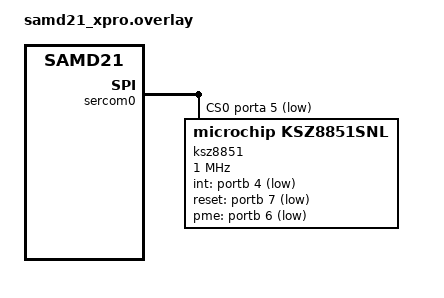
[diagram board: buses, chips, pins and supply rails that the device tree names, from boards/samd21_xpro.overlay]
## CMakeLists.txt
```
cmake_minimum_required(VERSION 3.20.0)

# Tell Zephyr where to find our devicetree bindings
list(APPEND DTS_ROOT ${CMAKE_CURRENT_SOURCE_DIR})

find_package(Zephyr REQUIRED HINTS $ENV{ZEPHYR_BASE})
project(ksz8851_app)

# Your application sources
target_sources(app PRIVATE
    src/main.c
)

# Add the driver sources directly to the app target
# This ensures they're properly linked
zephyr_library_sources_ifdef(CONFIG_ETH_KSZ8851SNL
    drivers/ethernet/eth_ksz8851snl.c
)
```

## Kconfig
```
# Copyright (c) 2021 Nordic Semiconductor ASA
# SPDX-License-Identifier: Apache-2.0
#
# This file is the application Kconfig entry point. All application Kconfig
# options can be defined here or included via other application Kconfig files.
# You can browse these options using the west targets menuconfig (terminal) or
# guiconfig (GUI).

menu "Zephyr"
source "Kconfig.zephyr"
endmenu

rsource "drivers/Kconfig"

module = APP
module-str = APP
source "subsys/logging/Kconfig.template.log_config"
```

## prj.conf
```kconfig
CONFIG_NEWLIB_LIBC=y
CONFIG_PICOLIBC=n

CONFIG_SERIAL=y
CONFIG_CONSOLE=y
CONFIG_UART_CONSOLE=y

CONFIG_LOG=y
CONFIG_LOG_BACKEND_UART=y
CONFIG_LOG_DEFAULT_LEVEL=3
CONFIG_LOG_BUFFER_SIZE=8192
CONFIG_LOG_PROCESS_THREAD_STACK_SIZE=2048
CONFIG_LOG_PROCESS_TRIGGER_THRESHOLD=0

# Reduce verbosity - keep only important logs
CONFIG_NET_LOG=y
CONFIG_NET_DHCPV4_LOG_LEVEL_INF=y
CONFIG_NET_IPV4_LOG_LEVEL_INF=y
CONFIG_NET_L2_ETHERNET_LOG_LEVEL_INF=y

CONFIG_GPIO=y
CONFIG_SPI=y

# Networking
CONFIG_NETWORKING=y
CONFIG_NET_IPV4=y
CONFIG_NET_IPV6=n
CONFIG_NET_TCP=n
CONFIG_NET_UDP=y

# Ethernet
CONFIG_NET_L2_ETHERNET=y
CONFIG_ETH_KSZ8851SNL=y

# DHCP Client
CONFIG_NET_DHCPV4=y

# Random number generator (required for networking)
CONFIG_TEST_RANDOM_GENERATOR=y
CONFIG_TIMER_RANDOM_INITIAL_STATE=123456789

# Network buffers (reduced for RAM constraints)
CONFIG_NET_BUF_RX_COUNT=8
CONFIG_NET_BUF_TX_COUNT=8
CONFIG_NET_PKT_RX_COUNT=4
CONFIG_NET_PKT_TX_COUNT=4
CONFIG_NET_BUF_DATA_SIZE=128

# Disable network shell to save RAM
CONFIG_NET_SHELL=n
CONFIG_SHELL=n

# Optimize stack sizes for constrained device
CONFIG_MAIN_STACK_SIZE=1536
CONFIG_SYSTEM_WORKQUEUE_STACK_SIZE=1536
CONFIG_NET_TX_STACK_SIZE=768
CONFIG_NET_RX_STACK_SIZE=768

# Disable features to save RAM
CONFIG_NET_STATISTICS=n
CONFIG_NET_PKT_RXTIME_STATS=n
CONFIG_NET_PKT_TXTIME_STATS=n
```

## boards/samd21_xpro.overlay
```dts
#include <dt-bindings/pinctrl/atmel_sam_pinctrl.h>
#include <dt-bindings/pinctrl/samd21-da1jXabcd-pinctrl.h>

&sercom0 {
    status = "okay";
    compatible = "atmel,sam0-spi";
    #address-cells = <1>;
    #size-cells = <0>;

    /delete-property/ current-speed;
    /delete-property/ rxpo;
    /delete-property/ txpo;

    dipo = <0>;   /* MISO = PAD0 (PA04) */
    dopo = <1>;   /* MOSI = PAD2 (PA06), SCK = PAD3 (PA07) */

    pinctrl-0 = <&sercom0_spi_default>;
    pinctrl-names = "default";

    /* CS GPIO must be on the SPI controller node, not on the child device */
    cs-gpios = <&porta 5 GPIO_ACTIVE_LOW>;  /* PA05 */

    ksz8851: ethernet@0 {
        compatible = "microchip,ksz8851snl";
        reg = <0>;  /* Index 0 corresponds to cs-gpios[0] */
        spi-max-frequency = <1000000>;  /* Start slow for debugging: 1MHz */

        /* SPI Mode 0: CPOL=0, CPHA=0 (default - don't set flags) */

        int-gpios   = <&portb 4 GPIO_ACTIVE_LOW>;  /* PB04 */
        reset-gpios = <&portb 7 GPIO_ACTIVE_LOW>;  /* PB07 */
        pme-gpios   = <&portb 6 GPIO_ACTIVE_LOW>;  /* PB06 */
        status = "okay";
    };
};

&pinctrl {
    sercom0_spi_default: sercom0_spi_default {
        group1 {
            pinmux = <PA4D_SERCOM0_PAD0>, /* MISO */
                     <PA6D_SERCOM0_PAD2>, /* MOSI */
                     <PA7D_SERCOM0_PAD3>; /* SCK  */
        };
    };
};
```

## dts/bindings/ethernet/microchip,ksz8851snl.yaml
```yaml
# SPDX-License-Identifier: Apache-2.0
compatible: "microchip,ksz8851snl"
description: Minimal binding for KSZ8851SNL over SPI during bring-up
on-bus: spi

# Pull in standard SPI device base props
include: spi-device.yaml

properties:
  # SPI chip select line (explicitly redeclared so schema validation passes)
  cs-gpios:
    type: phandle-array
    required: false
    description: GPIO used as CS for this SPI device

  # Controller-inserted CS timing margins (ns)
  spi-cs-setup-delay-ns:
    type: int
    required: false
    description: Delay in ns after CS asserted before first clock
  spi-cs-hold-delay-ns:
    type: int
    required: false
    description: Delay in ns after last clock before CS deasserted

  # Chip-specific GPIOs (optional)
  int-gpios:
    type: phandle-array
    required: false
    description: Active-low interrupt pin
  reset-gpios:
    type: phandle-array
    required: false
    description: Active-low hardware reset pin
  pme-gpios:
    type: phandle-array
    required: false
    description: Power management event pin (optional)

  # Optional for bring-up; remove once read from HW/OTP
  local-mac-address:
    type: uint8-array
    required: false
    description: 6-byte MAC address
```

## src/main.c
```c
#include <zephyr/kernel.h>
#include <zephyr/logging/log.h>
#include <zephyr/net/net_if.h>
#include <zephyr/net/net_core.h>
#include <zephyr/net/net_mgmt.h>
#include <zephyr/net/dhcpv4.h>
#include <zephyr/net/ethernet.h>

LOG_MODULE_REGISTER(app, LOG_LEVEL_INF);

static struct net_mgmt_event_callback mgmt_cb;

static void event_handler(struct net_mgmt_event_callback *cb,
			  uint32_t mgmt_event, struct net_if *iface)
{
	ARG_UNUSED(cb);
	ARG_UNUSED(iface);

	if (mgmt_event == NET_EVENT_IPV4_DHCP_BOUND) {
		LOG_INF("DHCP bound - IPv4 address assigned");
	} else if (mgmt_event == NET_EVENT_IPV4_ADDR_ADD) {
		LOG_INF("IPv4 address added to interface");
	} else if (mgmt_event == NET_EVENT_IPV4_DHCP_START) {
		LOG_INF("DHCP client started");
	}
}

int main(void)
{
	struct net_if *iface;
	struct net_linkaddr *link_addr;
	const struct device *eth_dev;
	const struct device *spi_dev;

	LOG_INF("=== KSZ8851SNL Ethernet Driver Test ===");

	/* Check if SPI device is ready */
	spi_dev = DEVICE_DT_GET(DT_NODELABEL(sercom0));
	if (device_is_ready(spi_dev)) {
		LOG_INF("SPI device (sercom0) is ready");
	} else {
		LOG_ERR("SPI device (sercom0) NOT ready!");
	}

	/* Try to get the Ethernet device directly */
	eth_dev = DEVICE_DT_GET(DT_NODELABEL(ksz8851));
	if (eth_dev) {
		LOG_INF("Found ethernet device: %s", eth_dev->name);
		LOG_INF("Device ready: %s", device_is_ready(eth_dev) ? "YES" : "NO");
	} else {
		LOG_ERR("Could not find ksz8851 device!");
	}

	/* Wait a bit for the driver to initialize */
	k_sleep(K_MSEC(500));

	/* Get the default network interface */
	iface = net_if_get_default();
	if (!iface) {
		LOG_ERR("No network interface found!");
		return -1;
	}

	LOG_INF("Network interface found");
	
	/* Print MAC address */
	link_addr = net_if_get_link_addr(iface);
	if (link_addr && link_addr->len == 6) {
		LOG_INF("MAC: %02x:%02x:%02x:%02x:%02x:%02x",
			link_addr->addr[0], link_addr->addr[1], link_addr->addr[2],
			link_addr->addr[3], link_addr->addr[4], link_addr->addr[5]);
	}
	
	/* Register network management callback */
	net_mgmt_init_event_callback(&mgmt_cb, event_handler,
				     NET_EVENT_IPV4_ADDR_ADD |
				     NET_EVENT_IPV4_DHCP_START |
				     NET_EVENT_IPV4_DHCP_BOUND);
	net_mgmt_add_event_callback(&mgmt_cb);
	
	/* Start DHCP client */
	LOG_INF("Starting DHCP client...");
	net_dhcpv4_start(iface);
	
	LOG_INF("Application running - waiting for DHCP...");

	/* Main loop */
	int poll_count = 0;
	while (1) {
		k_sleep(K_SECONDS(5));

		poll_count++;

		/* Every 5 seconds, check status */
		if (poll_count % 6 == 0) {  /* Every 30 seconds */
			if (net_if_is_up(iface)) {
				bool carrier = net_if_flag_is_set(iface, NET_IF_LOWER_UP);
				LOG_INF("Status: Interface UP, Link %s",
					carrier ? "UP" : "DOWN");
			} else {
				LOG_INF("Status: Interface DOWN");
			}
		}
	}
	
	return 0;
}
```

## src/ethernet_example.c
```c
/*
 * Copyright (c) 2024 Zephyr Project
 * SPDX-License-Identifier: Apache-2.0
 *
 * KSZ8851SNL Ethernet Example Application
 */

#include <zephyr/kernel.h>
#include <zephyr/net/net_if.h>
#include <zephyr/net/net_core.h>
#include <zephyr/net/net_context.h>
#include <zephyr/net/net_mgmt.h>
#include <zephyr/net/ethernet.h>
#include <zephyr/logging/log.h>

LOG_MODULE_REGISTER(eth_example, CONFIG_APP_LOG_LEVEL);

static struct net_mgmt_event_callback mgmt_cb;

static void event_handler(struct net_mgmt_event_callback *cb,
	uint32_t mgmt_event, struct net_if *iface)
{
if (mgmt_event == NET_EVENT_IPV4_ADDR_ADD) {
char addr_str[NET_IPV4_ADDR_LEN];

for (int i = 0; i < NET_IF_MAX_IPV4_ADDR; i++) {
  struct net_if_addr *if_addr = &iface->config.ip.ipv4->unicast[i];
  
  if (if_addr->addr_state == NET_ADDR_PREFERRED) {
	  if (net_addr_ntop(AF_INET, 
				&if_addr->address.in_addr,
				addr_str, sizeof(addr_str))) {
		  LOG_INF("IPv4 address: %s", addr_str);
		  LOG_INF("Lease time: %u seconds",
			  iface->config.dhcpv4.lease_time);
	  }
	  break;
  }
}
} else if (mgmt_event == NET_EVENT_IPV4_DHCP_BOUND) {
LOG_INF("DHCP bound");
} else if (mgmt_event == NET_EVENT_IPV4_DHCP_START) {
LOG_INF("DHCP started");
}
}

void ethernet_example_init(void)
{
	struct net_if *iface;
	struct ethernet_context *eth_ctx;

	LOG_INF("Initializing Ethernet example");

	/* Get default network interface (Ethernet) */
	iface = net_if_get_default();
	if (!iface) {
		LOG_ERR("No network interface found");
		return;
	}

	/* Check if it's an Ethernet interface */
	if (net_if_l2(iface) != &NET_L2_GET_NAME(ETHERNET)) {
		LOG_ERR("Default interface is not Ethernet");
		return;
	}

	LOG_INF("Network interface: %s", net_if_get_device(iface)->name);

	/* Print MAC address */
	const uint8_t *mac = net_if_get_link_addr(iface)->addr;
	LOG_INF("MAC Address: %02x:%02x:%02x:%02x:%02x:%02x",
		mac[0], mac[1], mac[2], mac[3], mac[4], mac[5]);

	/* Setup network management event callback for IP address changes */
	net_mgmt_init_event_callback(&mgmt_cb, event_handler,
				     NET_EVENT_IPV4_ADDR_ADD |
				     NET_EVENT_IPV4_DHCP_BOUND |
				     NET_EVENT_IPV4_DHCP_START);
	net_mgmt_add_event_callback(&mgmt_cb);

	/* Start DHCP */
	LOG_INF("Starting DHCP client...");
	net_dhcpv4_start(iface);

	LOG_INF("Ethernet initialized successfully");
}
```
